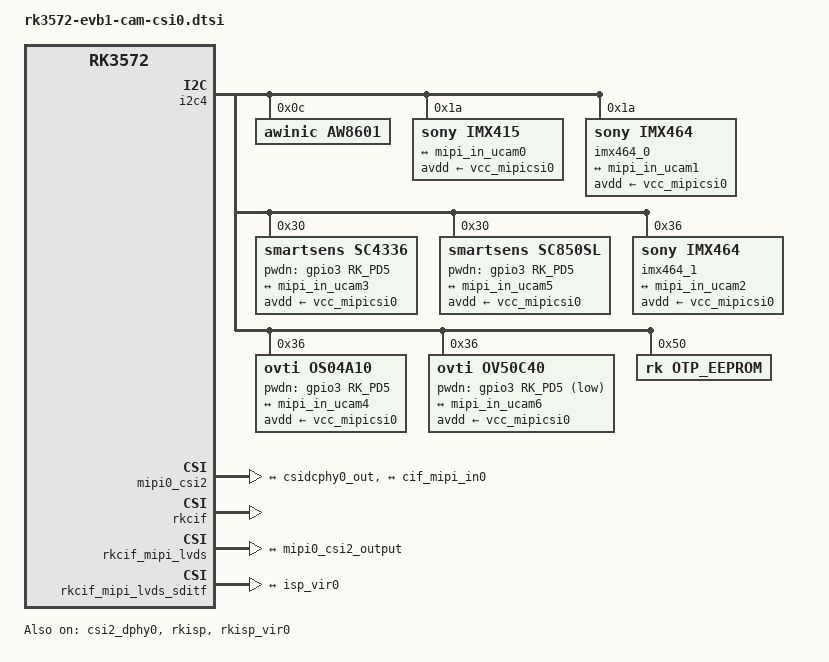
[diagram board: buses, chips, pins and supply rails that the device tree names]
// SPDX-License-Identifier: (GPL-2.0+ OR MIT)
/*
 * Copyright (c) 2025 Rockchip Electronics Co., Ltd.
 *
 */

&csi2_dphy0 {
	status = "okay";

	ports {
		#address-cells = <1>;
		#size-cells = <0>;
		port@0 {
			reg = <0>;
			#address-cells = <1>;
			#size-cells = <0>;

			mipi_in_ucam0: endpoint@1 {
				reg = <1>;
				remote-endpoint = <&imx415_out0>;
				data-lanes = <1 2 3 4>;
			};

			mipi_in_ucam1: endpoint@2 {
				reg = <2>;
				remote-endpoint = <&imx464_out0>;
				data-lanes = <1 2>;
			};

			mipi_in_ucam2: endpoint@3 {
				reg = <3>;
				remote-endpoint = <&imx464_out1>;
				data-lanes = <1 2>;
			};

			mipi_in_ucam3: endpoint@4 {
				reg = <4>;
				remote-endpoint = <&sc4336_out>;
				data-lanes = <1 2>;
			};

			mipi_in_ucam4: endpoint@5 {
				reg = <5>;
				remote-endpoint = <&os04a10_out>;
				data-lanes = <1 2>;
			};

			mipi_in_ucam5: endpoint@6 {
				reg = <6>;
				remote-endpoint = <&sc850sl_out>;
				data-lanes = <1 2 3 4>;
			};

			mipi_in_ucam6: endpoint@7 {
				reg = <7>;
				remote-endpoint = <&ov50c40_out>;
				data-lanes = <1 2 3 4>;
			};
		};
		port@1 {
			reg = <1>;
			#address-cells = <1>;
			#size-cells = <0>;

			csidcphy0_out: endpoint@0 {
				reg = <0>;
				remote-endpoint = <&mipi0_csi2_input>;
			};
		};
	};
};

&i2c4 {
	status = "okay";
	pinctrl-0 = <&i2c4m3_xfer_pins>;

	aw8601: aw8601@c {
		compatible = "awinic,aw8601";
		status = "okay";
		reg = <0x0c>;
		rockchip,vcm-start-current = <56>;
		rockchip,vcm-rated-current = <96>;
		rockchip,vcm-step-mode = <4>;
		rockchip,camera-module-index = <0>;
		rockchip,camera-module-facing = "back";
	};

	imx415: imx415@1a {
		compatible = "sony,imx415";
		reg = <0x1a>;
		clocks = <&cru CAM_CLK0_OUT_IOUT>;
		clock-names = "xvclk";
		pinctrl-names = "default";
		pinctrl-0 = <&cam_clk0m0_clk0_pins>;
		power-domains = <&power RK3572_PD_VI>;
		/* reset need connect to dovdd */
		avdd-supply = <&vcc_mipicsi0>;
		rockchip,camera-module-index = <0>;
		rockchip,camera-module-facing = "back";
		rockchip,camera-module-name = "CMK-OT2022-PX1";
		rockchip,camera-module-lens-name = "IR0147-50IRC-8M-F20";
		port {
			imx415_out0: endpoint {
				remote-endpoint = <&mipi_in_ucam0>;
				data-lanes = <1 2 3 4>;
			};
		};
	};

	imx464_0: imx464-0@1a {
		compatible = "sony,imx464";
		status = "okay";
		reg = <0x1a>;
		clocks = <&cru CAM_CLK0_OUT_IOUT>;
		clock-names = "xvclk";
		power-domains = <&power RK3572_PD_VI>;
		/* reset need connect to dovdd */
		pinctrl-names = "default";
		pinctrl-0 = <&cam_clk0m0_clk0_pins>;
		avdd-supply = <&vcc_mipicsi0>;
		rockchip,camera-module-index = <0>;
		rockchip,camera-module-facing = "back";
		rockchip,camera-module-name = "CMK-OT1980-PX1";
		rockchip,camera-module-lens-name = "SHG102";
		port {
			imx464_out0: endpoint {
				remote-endpoint = <&mipi_in_ucam1>;
				data-lanes = <1 2>;
			};
		};
	};

	sc4336: sc4336@30 {
		compatible = "smartsens,sc4336";
		status = "okay";
		reg = <0x30>;
		clocks = <&cru CAM_CLK0_OUT_IOUT>;
		clock-names = "xvclk";
		power-domains = <&power RK3572_PD_VI>;
		pinctrl-names = "default";
		/* reset need connect to dovdd */
		pwdn-gpios = <&gpio3 RK_PD5 GPIO_ACTIVE_HIGH>;
		pinctrl-0 = <&cam_clk0m0_clk0_pins>;
		avdd-supply = <&vcc_mipicsi0>;
		rockchip,camera-module-index = <0>;
		rockchip,camera-module-facing = "back";
		rockchip,camera-module-name = "OT01";
		rockchip,camera-module-lens-name = "40IRC_F16";
		port {
			sc4336_out: endpoint {
				remote-endpoint = <&mipi_in_ucam3>;
				data-lanes = <1 2>;
			};
		};
	};

	sc850sl: sc850sl@30 {
		compatible = "smartsens,sc850sl";
		status = "okay";
		reg = <0x30>;
		clocks = <&cru CAM_CLK0_OUT_IOUT>;
		clock-names = "xvclk";
		power-domains = <&power RK3572_PD_VI>;
		pinctrl-names = "default";
		/* reset need connect to dovdd */
		pwdn-gpios = <&gpio3 RK_PD5 GPIO_ACTIVE_HIGH>;
		pinctrl-0 = <&cam_clk0m0_clk0_pins>;
		avdd-supply = <&vcc_mipicsi0>;
		rockchip,camera-module-index = <0>;
		rockchip,camera-module-facing = "back";
		rockchip,camera-module-name = "default";
		rockchip,camera-module-lens-name = "default";
		port {
			sc850sl_out: endpoint {
				remote-endpoint = <&mipi_in_ucam5>;
				data-lanes = <1 2 3 4>;
			};
		};
	};

	imx464_1: imx464-1@36 {
		compatible = "sony,imx464";
		status = "okay";
		reg = <0x36>;
		clocks = <&cru CAM_CLK0_OUT_IOUT>;
		clock-names = "xvclk";
		power-domains = <&power RK3572_PD_VI>;
		pinctrl-names = "default";
		/* reset need connect to dovdd */
		pinctrl-0 = <&cam_clk0m0_clk0_pins>;
		avdd-supply = <&vcc_mipicsi0>;
		rockchip,camera-module-index = <0>;
		rockchip,camera-module-facing = "back";
		rockchip,camera-module-name = "CMK-OT1980-PX1";
		rockchip,camera-module-lens-name = "SHG102";
		port {
			imx464_out1: endpoint {
				remote-endpoint = <&mipi_in_ucam2>;
				data-lanes = <1 2>;
			};
		};
	};

	os04a10: os04a10@36 {
		compatible = "ovti,os04a10";
		status = "okay";
		reg = <0x36>;
		clocks = <&cru CAM_CLK0_OUT_IOUT>;
		clock-names = "xvclk";
		power-domains = <&power RK3572_PD_VI>;
		pinctrl-names = "default";
		/* reset need connect to dovdd */
		pwdn-gpios = <&gpio3 RK_PD5 GPIO_ACTIVE_HIGH>;
		pinctrl-0 = <&cam_clk0m0_clk0_pins>;
		avdd-supply = <&vcc_mipicsi0>;
		rockchip,camera-module-index = <0>;
		rockchip,camera-module-facing = "back";
		rockchip,camera-module-name = "CMK-OT1607-FV1";
		rockchip,camera-module-lens-name = "M12-40IRC-4MP-F16";
		port {
			os04a10_out: endpoint {
				remote-endpoint = <&mipi_in_ucam4>;
				data-lanes = <1 2>;
			};
		};
	};

	ov50c40: ov50c40@36 {
		compatible = "ovti,ov50c40";
		status = "okay";
		reg = <0x36>;
		clocks = <&cru CAM_CLK0_OUT_IOUT>;
		clock-names = "xvclk";
		power-domains = <&power RK3572_PD_VI>;
		pinctrl-names = "default";
		pinctrl-0 = <&cam_clk0m0_clk0_pins>;
		pwdn-gpios = <&gpio3 RK_PD5 GPIO_ACTIVE_LOW>;
		avdd-supply = <&vcc_mipicsi0>;
		rockchip,camera-module-index = <0>;
		rockchip,camera-module-facing = "back";
		rockchip,camera-module-name = "HZGA06";
		rockchip,camera-module-lens-name = "ZE0082C1";
		eeprom-ctrl = <&otp_eeprom>;
		lens-focus = <&aw8601>;
		port {
			ov50c40_out: endpoint {
				remote-endpoint = <&mipi_in_ucam6>;
				data-lanes = <1 2 3 4>;
			};
		};
	};

	otp_eeprom: otp_eeprom@50 {
		compatible = "rk,otp_eeprom";
		status = "okay";
		reg = <0x50>;
	};
};

&mipi0_csi2 {
	status = "okay";

	ports {
		#address-cells = <1>;
		#size-cells = <0>;

		port@0 {
			reg = <0>;
			#address-cells = <1>;
			#size-cells = <0>;

			mipi0_csi2_input: endpoint@1 {
				reg = <1>;
				remote-endpoint = <&csidcphy0_out>;
			};
		};

		port@1 {
			reg = <1>;
			#address-cells = <1>;
			#size-cells = <0>;

			mipi0_csi2_output: endpoint@0 {
				reg = <0>;
				remote-endpoint = <&cif_mipi_in0>;
			};
		};
	};
};

&rkcif {
	status = "okay";
};

&rkcif_mipi_lvds {
	status = "okay";

	port {
		cif_mipi_in0: endpoint {
			remote-endpoint = <&mipi0_csi2_output>;
		};
	};
};

&rkcif_mipi_lvds_sditf {
	status = "okay";

	port {
		mipi_lvds_sditf: endpoint {
			remote-endpoint = <&isp_vir0>;
		};
	};
};

&rkcif_mmu {
	status = "okay";
};

&rkisp {
	status = "okay";
};

&rkisp_mmu {
	status = "okay";
};

&rkisp_vir0 {
	status = "okay";

	port {
		#address-cells = <1>;
		#size-cells = <0>;

		isp_vir0: endpoint@0 {
			reg = <0>;
			remote-endpoint = <&mipi_lvds_sditf>;
		};
	};
};
